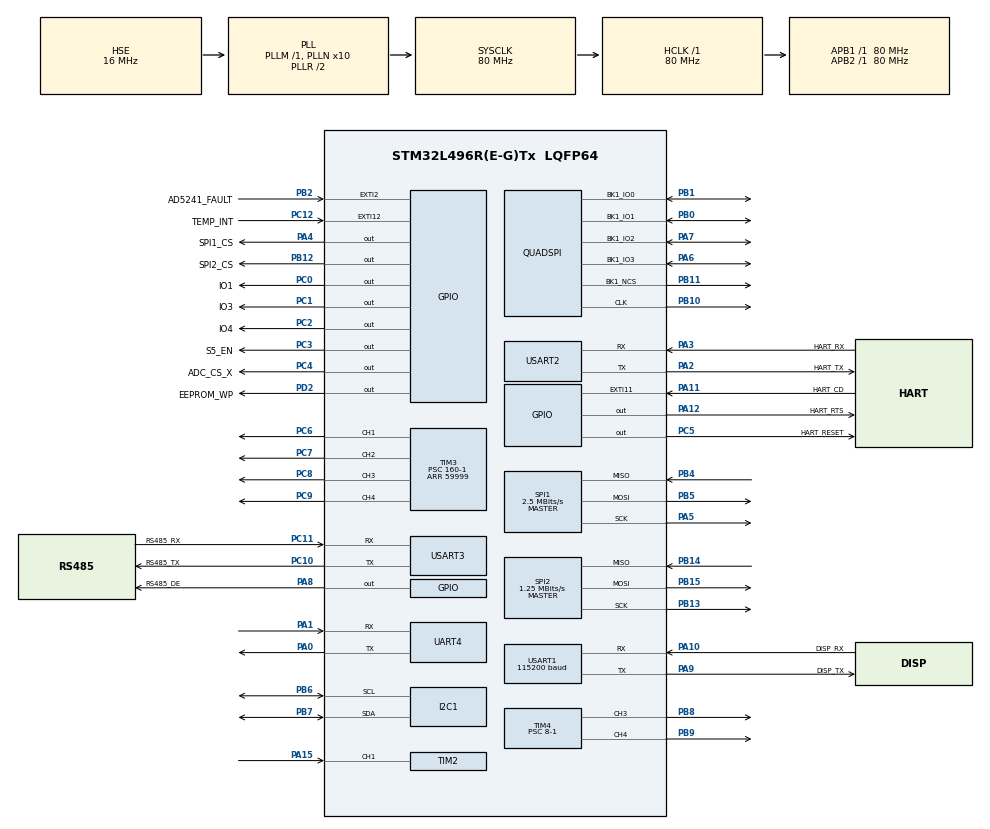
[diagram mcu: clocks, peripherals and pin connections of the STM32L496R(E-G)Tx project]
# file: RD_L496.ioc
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Dma.QUADSPI.0.Direction=DMA_PERIPH_TO_MEMORY
Dma.QUADSPI.0.Instance=DMA1_Channel5
Dma.QUADSPI.0.MemDataAlignment=DMA_MDATAALIGN_BYTE
Dma.QUADSPI.0.MemInc=DMA_MINC_ENABLE
Dma.QUADSPI.0.Mode=DMA_NORMAL
Dma.QUADSPI.0.PeriphDataAlignment=DMA_PDATAALIGN_BYTE
Dma.QUADSPI.0.PeriphInc=DMA_PINC_DISABLE
Dma.QUADSPI.0.Priority=DMA_PRIORITY_LOW
Dma.Request0=QUADSPI
Dma.Request1=USART1_RX
Dma.USART1_RX.1.Direction=DMA_PERIPH_TO_MEMORY
Dma.USART1_RX.1.Instance=DMA2_Channel7
Dma.USART1_RX.1.MemDataAlignment=DMA_MDATAALIGN_BYTE
Dma.USART1_RX.1.MemInc=DMA_MINC_ENABLE
Dma.USART1_RX.1.Mode=DMA_NORMAL
Dma.USART1_RX.1.PeriphDataAlignment=DMA_PDATAALIGN_BYTE
Dma.USART1_RX.1.PeriphInc=DMA_PINC_DISABLE
Dma.USART1_RX.1.Priority=DMA_PRIORITY_LOW
I2C1.Timing=0x10D19CE4
Mcu.Family=STM32L4
Mcu.Name=STM32L496R(E-G)Tx
Mcu.Package=LQFP64
NVIC.DMA2_Channel7_IRQn=true\:1\:0\:true\:false\:true\:false\:true\:true
NVIC.DMA1_Channel5_IRQn=true\:2\:0\:true\:false\:true\:false\:true\:true
NVIC.EXTI15_10_IRQn=true\:0\:0\:false\:false\:true\:true\:true\:true
NVIC.EXTI2_IRQn=true\:0\:0\:false\:false\:true\:true\:true\:true
NVIC.PriorityGroup=NVIC_PRIORITYGROUP_4
NVIC.QUADSPI_IRQn=true\:2\:0\:true\:false\:true\:true\:true\:true
NVIC.SPI1_IRQn=true\:1\:0\:true\:false\:true\:true\:true\:true
NVIC.TIM2_IRQn=true\:0\:0\:false\:false\:true\:true\:true\:true
NVIC.TIM3_IRQn=true\:1\:0\:true\:false\:true\:true\:true\:true
NVIC.TIM4_IRQn=true\:1\:0\:true\:false\:true\:true\:true\:true
NVIC.TIM7_IRQn=true\:1\:0\:true\:false\:true\:true\:true\:true
NVIC.TIM8_UP_IRQn=true\:1\:0\:true\:false\:true\:true\:true\:true
NVIC.UART4_IRQn=true\:2\:0\:true\:false\:true\:true\:true\:true
NVIC.USART1_IRQn=true\:3\:0\:true\:false\:true\:true\:true\:true
NVIC.USART2_IRQn=true\:2\:0\:true\:false\:true\:true\:true\:true
NVIC.USART3_IRQn=true\:2\:0\:true\:false\:true\:true\:true\:true
PA0.Mode=Asynchronous
PA0.Signal=UART4_TX
PA1.Mode=Asynchronous
PA1.Signal=UART4_RX
PA10.GPIO_Label=DISP_RX
PA10.Mode=Asynchronous
PA10.Signal=USART1_RX
PA11.GPIO_Label=HART_CD
PA11.Signal=GPXTI11
PA12.GPIO_Label=HART_RTS
PA12.GPIO_Speed=GPIO_SPEED_FREQ_MEDIUM
PA12.PinState=GPIO_PIN_RESET
PA12.Signal=GPIO_Output
PA13\ (JTMS/SWDIO).Mode=Serial_Wire
PA13\ (JTMS/SWDIO).Signal=SYS_JTMS-SWDIO
PA14\ (JTCK/SWCLK).Mode=Serial_Wire
PA14\ (JTCK/SWCLK).Signal=SYS_JTCK-SWCLK
PA15\ (JTDI).Signal=S_TIM2_CH1
PA2.GPIO_Label=HART_TX
PA2.Mode=Asynchronous
PA2.Signal=USART2_TX
PA3.GPIO_Label=HART_RX
PA3.Mode=Asynchronous
PA3.Signal=USART2_RX
PA4.GPIO_Label=SPI1_CS
PA4.GPIO_PuPd=GPIO_PULLDOWN
PA4.GPIO_Speed=GPIO_SPEED_FREQ_HIGH
PA4.PinState=GPIO_PIN_SET
PA4.Signal=GPIO_Output
PA5.Mode=Full_Duplex_Master
PA5.Signal=SPI1_SCK
PA6.Mode=Single Bank 1
PA6.Signal=QUADSPI_BK1_IO3
PA7.Mode=Single Bank 1
PA7.Signal=QUADSPI_BK1_IO2
PA8.GPIO_Label=RS485_DE
PA8.GPIO_Speed=GPIO_SPEED_FREQ_MEDIUM
PA8.Signal=GPIO_Output
PA9.GPIO_Label=DISP_TX
PA9.Mode=Asynchronous
PA9.Signal=USART1_TX
PB0.Mode=Single Bank 1
PB0.Signal=QUADSPI_BK1_IO1
PB1.Mode=Single Bank 1
PB1.Signal=QUADSPI_BK1_IO0
PB10.Mode=Single Bank 1
PB10.Signal=QUADSPI_CLK
PB11.Mode=Single Bank 1
PB11.Signal=QUADSPI_BK1_NCS
PB12.GPIO_Label=SPI2_CS
PB12.GPIO_PuPd=GPIO_PULLUP
PB12.GPIO_Speed=GPIO_SPEED_FREQ_HIGH
PB12.PinState=GPIO_PIN_SET
PB12.Signal=GPIO_Output
PB13.Mode=Full_Duplex_Master
PB13.Signal=SPI2_SCK
PB14.Mode=Full_Duplex_Master
PB14.Signal=SPI2_MISO
PB15.Mode=Full_Duplex_Master
PB15.Signal=SPI2_MOSI
PB2.GPIO_Label=AD5241_FAULT
PB2.Signal=GPXTI2
PB4\ (NJTRST).Mode=Full_Duplex_Master
PB4\ (NJTRST).Signal=SPI1_MISO
PB5.Mode=Full_Duplex_Master
PB5.Signal=SPI1_MOSI
PB6.Mode=I2C
PB6.Signal=I2C1_SCL
PB7.Mode=I2C
PB7.Signal=I2C1_SDA
PB8.Signal=S_TIM4_CH3
PB9.Signal=S_TIM4_CH4
PC0.GPIO_Label=IO1
PC0.GPIO_Speed=GPIO_SPEED_FREQ_MEDIUM
PC0.Signal=GPIO_Output
PC1.GPIO_Label=IO3
PC1.GPIO_Speed=GPIO_SPEED_FREQ_MEDIUM
PC1.Signal=GPIO_Output
PC10.GPIO_Label=RS485_TX
PC10.Mode=Asynchronous
PC10.Signal=USART3_TX
PC11.GPIO_Label=RS485_RX
PC11.Mode=Asynchronous
PC11.Signal=USART3_RX
PC12.GPIO_Label=TEMP_INT
PC12.Signal=GPXTI12
PC2.GPIO_Label=IO4
PC2.GPIO_Speed=GPIO_SPEED_FREQ_MEDIUM
PC2.Signal=GPIO_Output
PC3.GPIO_Label=S5_EN
PC3.GPIO_Speed=GPIO_SPEED_FREQ_MEDIUM
PC3.Signal=GPIO_Output
PC4.GPIO_Label=ADC_CS_X
PC4.PinState=GPIO_PIN_SET
PC4.Signal=GPIO_Output
PC5.GPIO_Label=HART_RESET
PC5.GPIO_Speed=GPIO_SPEED_FREQ_MEDIUM
PC5.Signal=GPIO_Output
PC6.GPIO_PuPd=GPIO_PULLUP
PC6.Signal=S_TIM3_CH1
PC7.GPIO_PuPd=GPIO_PULLDOWN
PC7.Signal=S_TIM3_CH2
PC8.GPIO_PuPd=GPIO_PULLUP
PC8.Signal=S_TIM3_CH3
PC9.GPIO_PuPd=GPIO_PULLDOWN
PC9.Signal=S_TIM3_CH4
PD2.GPIO_Label=EEPROM_WP
PD2.Signal=GPIO_Output
PH0-OSC_IN\ (PH0).Mode=HSE-External-Oscillator
PH0-OSC_IN\ (PH0).Signal=RCC_OSC_IN
PH1-OSC_OUT\ (PH1).Mode=HSE-External-Oscillator
PH1-OSC_OUT\ (PH1).Signal=RCC_OSC_OUT
ProjectManager.HeapSize=0x400
ProjectManager.StackSize=0x800
ProjectManager.TargetToolchain=MDK-ARM V5.32
QUADSPI.ChipSelectHighTime=QSPI_CS_HIGH_TIME_3_CYCLE
QUADSPI.ClockPrescaler=1
QUADSPI.FifoThreshold=4
QUADSPI.FlashSize=23
QUADSPI.SampleShifting=QSPI_SAMPLE_SHIFTING_HALFCYCLE
RCC.ADCFreq_Value=64000000
RCC.AHBFreq_Value=80000000
RCC.APB1Freq_Value=80000000
RCC.APB1TimFreq_Value=80000000
RCC.APB2Freq_Value=80000000
RCC.APB2TimFreq_Value=80000000
RCC.CortexFreq_Value=80000000
RCC.HCLKFreq_Value=80000000
RCC.HSE_VALUE=16000000
RCC.HSI48_VALUE=48000000
RCC.HSI_VALUE=16000000
RCC.LSE_VALUE=32768
RCC.MSI_VALUE=4000000
RCC.PLLN=10
RCC.PLLSourceVirtual=RCC_PLLSOURCE_HSE
RCC.SYSCLKFreq_VALUE=80000000
RCC.SYSCLKSource=RCC_SYSCLKSOURCE_PLLCLK
RCC.USBFreq_Value=64000000
RCC.VCOOutputFreq_Value=160000000
SH.S_TIM2_CH1.0=TIM2_CH1,Input_Capture1_from_TI1
SH.S_TIM3_CH1.0=TIM3_CH1,Output Compare1 CH1
SH.S_TIM3_CH2.0=TIM3_CH2,Output Compare2 CH2
SH.S_TIM3_CH3.0=TIM3_CH3,Output Compare3 CH3
SH.S_TIM3_CH4.0=TIM3_CH4,Output Compare4 CH4
SH.S_TIM4_CH3.0=TIM4_CH3,Output Compare3 CH3
SH.S_TIM4_CH4.0=TIM4_CH4,Output Compare4 CH4
SPI1.BaudRatePrescaler=SPI_BAUDRATEPRESCALER_32
SPI1.CalculateBaudRate=2.5 MBits/s
SPI1.DataSize=SPI_DATASIZE_16BIT
SPI1.Direction=SPI_DIRECTION_2LINES
SPI1.Mode=SPI_MODE_MASTER
SPI1.NSSPMode=SPI_NSS_PULSE_DISABLE
SPI1.VirtualType=VM_MASTER
SPI2.BaudRatePrescaler=SPI_BAUDRATEPRESCALER_64
SPI2.CalculateBaudRate=1.25 MBits/s
SPI2.DataSize=SPI_DATASIZE_16BIT
SPI2.Direction=SPI_DIRECTION_2LINES
SPI2.Mode=SPI_MODE_MASTER
SPI2.NSSPMode=SPI_NSS_PULSE_DISABLE
SPI2.VirtualType=VM_MASTER
TIM2.AutoReloadPreload=TIM_AUTORELOAD_PRELOAD_ENABLE
TIM2.Channel-Input_Capture1_from_TI1=TIM_CHANNEL_1
TIM2.ICPolarity_CH1=TIM_INPUTCHANNELPOLARITY_FALLING
TIM2.Prescaler=80-1
TIM3.AutoReloadPreload=TIM_AUTORELOAD_PRELOAD_ENABLE
TIM3.Channel-Output\ Compare1\ CH1=TIM_CHANNEL_1
TIM3.Channel-Output\ Compare2\ CH2=TIM_CHANNEL_2
TIM3.Channel-Output\ Compare3\ CH3=TIM_CHANNEL_3
TIM3.Channel-Output\ Compare4\ CH4=TIM_CHANNEL_4
TIM3.OC2Preload=DISABLE
TIM3.OC3Preload=DISABLE
TIM3.OCMode_1=TIM_OCMODE_TOGGLE
TIM3.OCMode_2=TIM_OCMODE_TIMING
TIM3.OCMode_3=TIM_OCMODE_TOGGLE
TIM3.OCMode_4=TIM_OCMODE_TIMING
TIM3.OCPolarity_1=TIM_OCPOLARITY_LOW
TIM3.OCPolarity_2=TIM_OCPOLARITY_HIGH
TIM3.OCPolarity_3=TIM_OCPOLARITY_LOW
TIM3.Period=59999
TIM3.Prescaler=160-1
TIM3.Pulse-Output\ Compare1\ CH1=100
TIM3.Pulse-Output\ Compare2\ CH2=100
TIM3.Pulse-Output\ Compare3\ CH3=150
TIM3.Pulse-Output\ Compare4\ CH4=0
TIM4.AutoReloadPreload=TIM_AUTORELOAD_PRELOAD_DISABLE
TIM4.Channel-Output\ Compare3\ CH3=TIM_CHANNEL_3
TIM4.Channel-Output\ Compare4\ CH4=TIM_CHANNEL_4
TIM4.OCMode_3=TIM_OCMODE_PWM2
TIM4.OCMode_4=TIM_OCMODE_PWM2
TIM4.OCPolarity_4=TIM_OCPOLARITY_LOW
TIM4.Period=999
TIM4.Prescaler=8-1
TIM4.Pulse-Output\ Compare3\ CH3=1000
TIM4.Pulse-Output\ Compare4\ CH4=1000
TIM7.AutoReloadPreload=TIM_AUTORELOAD_PRELOAD_ENABLE
TIM7.Period=32-1
TIM7.Prescaler=40-1
TIM8.AutoReloadPreload=TIM_AUTORELOAD_PRELOAD_ENABLE
TIM8.Period=10000-1
TIM8.Prescaler=8000-1
USART1.BaudRate=115200
USART1.VirtualMode-Asynchronous=VM_ASYNC
USART2.VirtualMode-Asynchronous=VM_ASYNC
USART3.VirtualMode-Asynchronous=VM_ASYNC
VP_TIM3_VS_ClockSourceINT.Mode=Internal
VP_TIM4_VS_ClockSourceINT.Mode=Internal
VP_TIM7_VS_ClockSourceINT.Mode=Enable_Timer
VP_TIM8_VS_ClockSourceINT.Mode=Internal
board=custom

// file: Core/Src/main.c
/* USER CODE BEGIN Header */
/**
 ******************************************************************************
 * @file           : main.c
 * @brief          : Main program body
 ******************************************************************************
 * @attention
 *
 * Copyright (c) 2026 STMicroelectronics.
 * All rights reserved.
 *
 * This software is licensed under terms that can be found in the LICENSE file
 * in the root directory of this software component.
 * If no LICENSE file comes with this software, it is provided AS-IS.
 *
 ******************************************************************************
 */
/* USER CODE END Header */
#include "main.h"
#include "dma.h"
#include "i2c.h"
#include "quadspi.h"
#include "spi.h"
#include "tim.h"
#include "usart.h"
#include "gpio.h"

/* USER CODE BEGIN Includes */
#include <stdio.h>
#include <string.h>
#include "bsp_i2c.h"
#include "stlm75m2f.h"
#include "24lc256.h"
#include "bsp_spi.h"
#include "adcs7476.h"
#include "ad5421.h"
#include "bsp_qspi.h"
#include "w25q128jv.h"
#include "bsp_timer.h"
#include "delay.h"
#include "app_radar.h"
#include "app_config.h"
#include "app_disp.h"
#include "app_hart.h"
/* USER CODE END Includes */

/* USER CODE BEGIN PTD */
    uint16_t adc_value = 0;
/* USER CODE END PTD */

void SystemClock_Config(void);

int main(void)
{

  /* MCU Configuration--------------------------------------------------------*/

  /* Reset of all peripherals, Initializes the Flash interface and the Systick. */
  HAL_Init();

  /* Configure the system clock */
  SystemClock_Config();

  /* Initialize all configured peripherals */
  MX_GPIO_Init();
  MX_DMA_Init();
  MX_SPI1_Init();
  MX_TIM3_Init();
  MX_TIM4_Init();
  MX_USART1_UART_Init();
  MX_I2C1_Init();
  MX_QUADSPI_Init();
  MX_SPI2_Init();
  MX_TIM2_Init();
  MX_UART4_Init();
  MX_USART2_UART_Init();
  MX_USART3_UART_Init();
  MX_TIM7_Init();
  MX_TIM8_Init();
  /* USER CODE BEGIN 2 */
  /* ★ 启动顺序（风险评估 R-25）：配置与基线必须在 TIM2 捕获启动【之前】全部就绪。
   *   否则启动期照常采样而 s_has_baseline==0 ⇒ 会拿当前罐内状态误学一条基线（正中 R-04）；
   *   且 EEPROM 读取耗时数百 ms（基线 10KB @I2C 400kHz），跨 ≥5 个 S6 周期。
   * ⚠ 顺序不可打乱：
   *   ① App_Radar_Init() 内含 App_Config_Init()（装载默认档位 1）；
   *   ② LoadFromEEPROM() 内含 BSP_Range_SetLevel()（恢复用户档位）；
   *   ③ LoadBaselineFromEEPROM() 按当前档位点数校验基线，要求档位已就绪。
   *   三者都必须先于 HAL_TIM_IC_Start_IT，否则首帧按旧档位采样、基线校验必失败。*/
  App_Radar_Init();                   /* 算法标定（距离换算系数）+ 配置默认值 */
  App_Config_LoadFromEEPROM();        /* 开机从 EEPROM 恢复用户配置（失败则保持默认） */
  App_Config_LoadBaselineFromEEPROM();/* 开机从 EEPROM 恢复空罐基线（失败/切档 ⇒ 保持无基线，测量 SUPPRESSED，须菜单手动学） */

  STLM75_Init();                 /* 温度传感器初始化 */
  AD5421_Init();                 /* 4-20mA DAC 初始化 */
  Disp_Init();   /* 注册 USART1 上行命令回调并启动接收（预留） */
  App_HART_Init();               /* HART 从机初始化（USART2 1200 8O1） */

    /* 配置与基线全部就绪后才放开 S6 捕获：此前不会有任何测量序列启动 */
  HAL_TIM_IC_Start_IT(&htim2, TIM_CHANNEL_1);

  /* 注：此处原有开机主动发一帧 PARAM_DUMP(0x05) 的链路自测代码，已删除。
   * 删除理由（§3.10 #C1）：① 该帧注释自述"排查完删除"，属调试残留；
   *   ② 显示板已有 Disp_SendRequestParamDump() 主动拉取（app_disp.c:245），
   *      开机这帧是重复的；③ 它带着 HAL_Delay(100) 阻塞启动路径。*/

  /* 注：硬件自测入口 Test_*（app_hwtest.c）不属于本工程。*/
  /* USER CODE END 2 */

  /* Infinite loop */
  while (1)
  {

    /* USER CODE BEGIN 3 */
		Disp_RecvPoll();          /* 处理显示板上行帧（主循环，不阻塞采样） */
		App_HART_Task();      /* HART 从机收发 */
#ifdef DEBUG_CAL_CHANNEL
		App_Debug_Task();     /* 调试标定通道（UART4 CAL 命令）；量产默认关闭 */
#endif
		App_Radar_Run();

  }
  /* USER CODE END 3 */
}

void SystemClock_Config(void)
{
  RCC_OscInitTypeDef RCC_OscInitStruct = {0};
  RCC_ClkInitTypeDef RCC_ClkInitStruct = {0};

  /** Configure the main internal regulator output voltage
  */
  if (HAL_PWREx_ControlVoltageScaling(PWR_REGULATOR_VOLTAGE_SCALE1) != HAL_OK)
  {
    Error_Handler();
  }

  /** Initializes the RCC Oscillators according to the specified parameters
  * in the RCC_OscInitTypeDef structure.
  */
  RCC_OscInitStruct.OscillatorType = RCC_OSCILLATORTYPE_HSE;
  RCC_OscInitStruct.HSEState = RCC_HSE_ON;
  RCC_OscInitStruct.PLL.PLLState = RCC_PLL_ON;
  RCC_OscInitStruct.PLL.PLLSource = RCC_PLLSOURCE_HSE;
  RCC_OscInitStruct.PLL.PLLM = 1;
  RCC_OscInitStruct.PLL.PLLN = 10;
  RCC_OscInitStruct.PLL.PLLP = RCC_PLLP_DIV2;
  RCC_OscInitStruct.PLL.PLLQ = RCC_PLLQ_DIV2;
  RCC_OscInitStruct.PLL.PLLR = RCC_PLLR_DIV2;
  if (HAL_RCC_OscConfig(&RCC_OscInitStruct) != HAL_OK)
  {
    Error_Handler();
  }

  /** Initializes the CPU, AHB and APB buses clocks
  */
  RCC_ClkInitStruct.ClockType = RCC_CLOCKTYPE_HCLK|RCC_CLOCKTYPE_SYSCLK
                              |RCC_CLOCKTYPE_PCLK1|RCC_CLOCKTYPE_PCLK2;
  RCC_ClkInitStruct.SYSCLKSource = RCC_SYSCLKSOURCE_PLLCLK;
  RCC_ClkInitStruct.AHBCLKDivider = RCC_SYSCLK_DIV1;
  RCC_ClkInitStruct.APB1CLKDivider = RCC_HCLK_DIV1;
  RCC_ClkInitStruct.APB2CLKDivider = RCC_HCLK_DIV1;

  if (HAL_RCC_ClockConfig(&RCC_ClkInitStruct, FLASH_LATENCY_4) != HAL_OK)
  {
    Error_Handler();
  }
}

void Error_Handler(void)
{
  __disable_irq();
  while (1)
  {
  }
}
